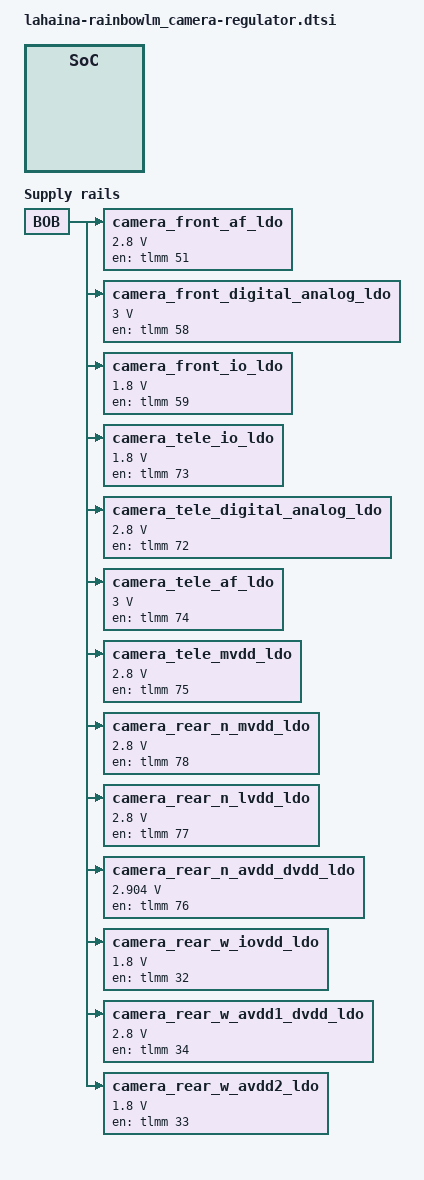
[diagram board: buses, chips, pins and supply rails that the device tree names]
#include "lahaina-rainbowlm_camera-pinctrl.dtsi"

&soc {
	camera_front_af_ldo: gpio-regulator@0 {
		compatible = "regulator-fixed";
		reg = <0x00 0x00>;
		regulator-name = "camera_front_af_ldo";
		regulator-min-microvolt = <2800000>;
		regulator-max-microvolt = <2800000>;
		regulator-enable-ramp-delay = <135>;
		enable-active-high;
		gpio = <&tlmm 51 0>;
		pinctrl-names = "default";
		pinctrl-0 = <&cam_sensor_front_af_ldo_en>;
		vin-supply = <&BOB>;
	};

	camera_front_digital_analog_ldo: gpio-regulator@1 {
		compatible = "regulator-fixed";
		reg = <0x01 0x00>;
		regulator-name = "camera_front_digital_analog_ldo";
		regulator-min-microvolt = <3000000>;
		regulator-max-microvolt = <3000000>;
		regulator-enable-ramp-delay = <135>;
		enable-active-high;
		gpio = <&tlmm 58 0>;
		pinctrl-names = "default";
		pinctrl-0 = <&cam_sensor_front_digital_analog_ldo_en>;
		vin-supply = <&BOB>;
	};

	camera_front_io_ldo: gpio-regulator@2 {
		compatible = "regulator-fixed";
		reg = <0x02 0x00>;
		regulator-name = "camera_front_io_ldo";
		regulator-min-microvolt = <1800000>;
		regulator-max-microvolt = <1800000>;
		regulator-enable-ramp-delay = <135>;
		enable-active-high;
		gpio = <&tlmm 59 0>;
		pinctrl-names = "default";
		pinctrl-0 = <&cam_sensor_front_io_ldo_en>;
		vin-supply = <&BOB>;
	};

	camera_tele_io_ldo: gpio-regulator@3 {
		compatible = "regulator-fixed";
		reg = <0x03 0x00>;
		regulator-name = "camera_tele_io_ldo";
		regulator-min-microvolt = <1800000>;
		regulator-max-microvolt = <1800000>;
		regulator-enable-ramp-delay = <135>;
		enable-active-high;
		gpio = <&tlmm 73 0>;
		pinctrl-names = "default";
		pinctrl-0 = <&cam_sensor_tele_io_ldo_en>;
		vin-supply = <&BOB>;
	};

	camera_tele_digital_analog_ldo: gpio-regulator@4 {
		compatible = "regulator-fixed";
		reg = <0x04 0x00>;
		regulator-name = "camera_tele_digital_analog_ldo";
		regulator-min-microvolt = <2800000>;
		regulator-max-microvolt = <2800000>;
		regulator-enable-ramp-delay = <135>;
		enable-active-high;
		gpio = <&tlmm 72 0>;
		pinctrl-names = "default";
		pinctrl-0 = <&cam_sensor_tele_digital_analog_ldo_en>;
		vin-supply = <&BOB>;
	};

	camera_tele_af_ldo: gpio-regulator@5 {
		compatible = "regulator-fixed";
		reg = <0x05 0x00>;
		regulator-name = "camera_tele_af_ldo";
		regulator-min-microvolt = <3000000>;
		regulator-max-microvolt = <3000000>;
		regulator-enable-ramp-delay = <135>;
		enable-active-high;
		gpio = <&tlmm 74 0>;
		pinctrl-names = "default";
		pinctrl-0 = <&cam_sensor_tele_af_ldo_en>;
		vin-supply = <&BOB>;
	};

	camera_tele_mvdd_ldo: gpio-regulator@6 {
		compatible = "regulator-fixed";
		reg = <0x06 0x00>;
		regulator-name = "camera_tele_mvdd_ldo";
		regulator-min-microvolt = <2800000>;
		regulator-max-microvolt = <2800000>;
		regulator-enable-ramp-delay = <135>;
		enable-active-high;
		gpio = <&tlmm 75 0>;
		pinctrl-names = "default";
		pinctrl-0 = <&cam_sensor_tele_mvdd_ldo_en>;
		vin-supply = <&BOB>;
	};

	camera_rear_n_mvdd_ldo: gpio-regulator@8 {
		compatible = "regulator-fixed";
		reg = <0x08 0x00>;
		regulator-name = "camera_rear_n_mvdd_ldo";
		regulator-min-microvolt = <2800000>;
		regulator-max-microvolt = <2800000>;
		regulator-enable-ramp-delay = <135>;
		enable-active-high;
		gpio = <&tlmm 78 0>;
		pinctrl-names = "default";
		pinctrl-0 = <&cam_sensor_main_mvdd_ldo_en>;
		vin-supply = <&BOB>;
	};

	camera_rear_n_lvdd_ldo: gpio-regulator@9 {
		compatible = "regulator-fixed";
		reg = <0x09 0x00>;
		regulator-name = "camera_rear_n_lvdd_ldo";
		regulator-min-microvolt = <2800000>;
		regulator-max-microvolt = <2800000>;
		regulator-enable-ramp-delay = <135>;
		enable-active-high;
		gpio = <&tlmm 77 0>;
		pinctrl-names = "default";
		pinctrl-0 = <&cam_sensor_main_lvdd_ldo_en>;
		vin-supply = <&BOB>;
	};

	camera_rear_n_avdd_dvdd_ldo: gpio-regulator@a {
		compatible = "regulator-fixed";
		reg = <0x0a 0x00>;
		regulator-name = "camera_rear_n_avdd_dvdd_ldo";
		regulator-min-microvolt = <2904000>;
		regulator-max-microvolt = <2904000>;
		regulator-enable-ramp-delay = <135>;
		enable-active-high;
		gpio = <&tlmm 76 0>;
		pinctrl-names = "default";
		pinctrl-0 = <&cam_sensor_main_avdd_dvdd_ldo_en>;
		vin-supply = <&BOB>;
	};

	camera_rear_w_iovdd_ldo: gpio-regulator@b {
		compatible = "regulator-fixed";
		reg = <0x0b 0x00>;
		regulator-name = "camera_rear_w_iovdd_ldo";
		regulator-min-microvolt = <1800000>;
		regulator-max-microvolt = <1800000>;
		regulator-enable-ramp-delay = <135>;
		enable-active-high;
		gpio = <&tlmm 32 0>;
		pinctrl-names = "default";
		pinctrl-0 = <&cam_sensor_wide_io_ldo_en>;
		vin-supply = <&BOB>;
	};

	camera_rear_w_avdd1_dvdd_ldo: gpio-regulator@c {
		compatible = "regulator-fixed";
		reg = <0x0c 0x00>;
		regulator-name = "camera_rear_w_avdd1_dvdd_ldo";
		regulator-min-microvolt = <2800000>;
		regulator-max-microvolt = <2800000>;
		regulator-enable-ramp-delay = <135>;
		enable-active-high;
		gpio = <&tlmm 34 0>;
		pinctrl-names = "default";
		pinctrl-0 = <&cam_sensor_wide_avdd_dvdd_ldo_en>;
		vin-supply = <&BOB>;
	};

	camera_rear_w_avdd2_ldo: gpio-regulator@d {
		compatible = "regulator-fixed";
		reg = <0x0d 0x00>;
		regulator-name = "camera_rear_w_avdd2_ldo";
		regulator-min-microvolt = <1800000>;
		regulator-max-microvolt = <1800000>;
		regulator-enable-ramp-delay = <135>;
		enable-active-high;
		gpio = <&tlmm 33 0>;
		pinctrl-names = "default";
		pinctrl-0 = <&cam_sensor_wide_avdd2_ldo_en>;
		vin-supply = <&BOB>;
	};
};
